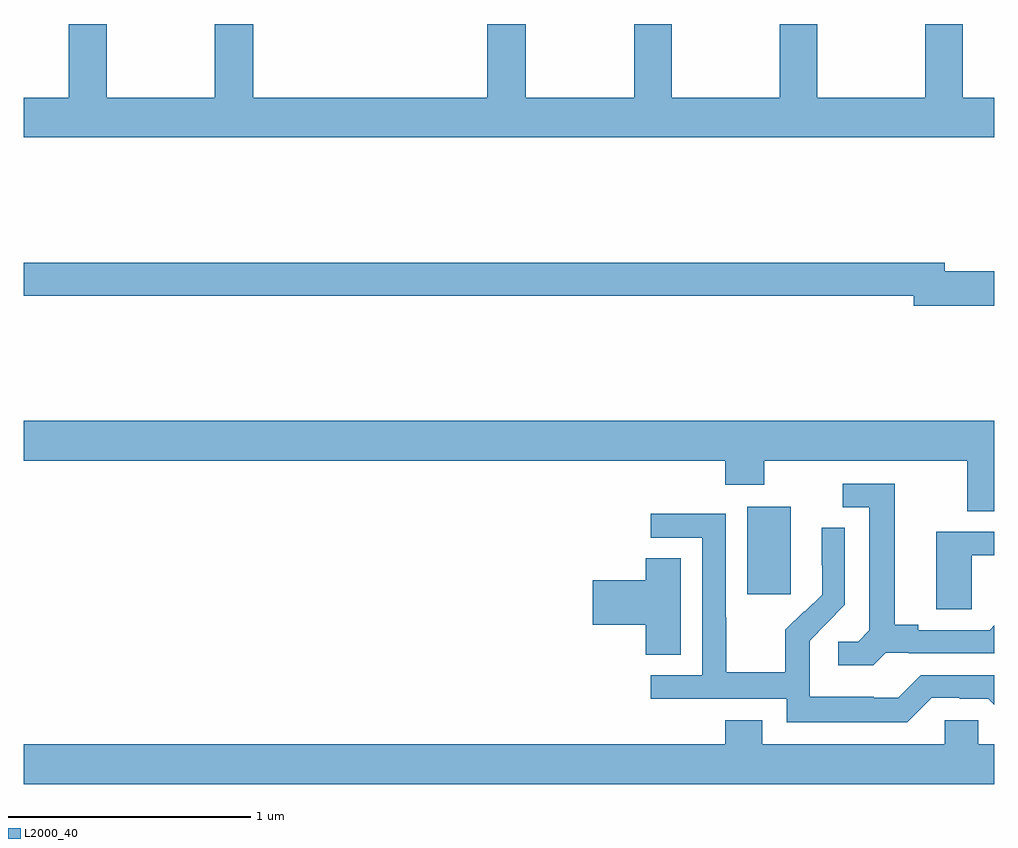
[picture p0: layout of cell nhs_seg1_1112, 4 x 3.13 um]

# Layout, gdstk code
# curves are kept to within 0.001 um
import gdstk
lib = gdstk.Library(unit=1e-6, precision=1e-09)
def R(c, l, rs):  # rectangles x0, y0, x1, y1
    for r in rs: c.add(gdstk.rectangle(r[:2], r[2:], *l))
def P(c, l, *ps):  # polygons
    for p in ps: c.add(gdstk.Polygon(p, *l))
L2000_40 = (2000, 40)

nhs_seg1_1112 = lib.new_cell('nhs_seg1_1112')
R(nhs_seg1_1112, L2000_40, [(173.981,549.849,174.16,550.21)])
P(nhs_seg1_1112, L2000_40, [(175,551.896),(174.87,551.896),(174.87,552.199),(174.715,552.199),(174.715,551.896),(174.27,551.896),(174.27,552.199),(174.115,552.199),(174.115,551.896),(173.67,551.896),(173.67,552.199),(173.515,552.199),(173.515,551.896),(173.07,551.896),(173.07,552.199),(172.91,552.199),(172.91,551.896),(171.947,551.896),(171.947,552.199),(171.787,552.199),(171.787,551.896),(171.342,551.896),(171.342,552.199),(171.187,552.199),(171.187,551.896),(171,551.896),(171,551.732),(175,551.732)],
  [(175,551.18),(174.796,551.18),(174.796,551.216),(171,551.216),(171,551.08),(174.668,551.08),(174.668,551.038),(175,551.038)],
  [(175,550.564),(171,550.564),(171,550.4),(173.891,550.4),(173.891,550.301),(174.051,550.301),(174.051,550.4),(174.887,550.4),(174.887,550.192),(175,550.192)],
  [(174.552,549.609),(174.646,549.609),(174.646,549.606),(175,549.606),(175,549.722),(174.98,549.702),(174.685,549.702),(174.685,549.725),(174.589,549.725),(174.589,550.305),(174.375,550.305),(174.375,550.209),(174.485,550.209),(174.485,549.701),(174.438,549.654),(174.357,549.654),(174.357,549.557),(174.5,549.557)],
  [(174.741,549.423),(174.857,549.423),(174.857,549.42),(174.975,549.42),(175,549.395),(175,549.516),(174.696,549.516),(174.603,549.423),(174.503,549.423),(174.503,549.427),(174.24,549.427),(174.24,549.561),(174.238,549.561),(174.238,549.658),(174.384,549.806),(174.384,550.124),(174.288,550.124),(174.288,549.97),(174.29,549.97),(174.29,549.848),(174.219,549.777),(174.216,549.78),(174.139,549.703),(174.139,549.529),(173.895,549.529),(173.895,549.752),(173.892,549.752),(173.892,550.182),(173.583,550.182),(173.583,550.083),(173.796,550.083),(173.796,549.516),(173.583,549.516),(173.583,549.42),(174.144,549.42),(174.144,549.323),(174.641,549.323)],
  [(174.906,550.011),(175,550.011),(175,550.107),(174.761,550.107),(174.761,549.787),(174.906,549.787)],
  [(173.707,549.998),(173.564,549.998),(173.564,549.908),(173.346,549.908),(173.346,549.725),(173.564,549.725),(173.564,549.601),(173.707,549.601)],
  [(175,549.232),(174.933,549.232),(174.933,549.33),(174.795,549.33),(174.795,549.232),(174.043,549.232),(174.043,549.331),(173.891,549.331),(173.891,549.232),(171,549.232),(171,549.068),(175,549.068)])

lib.write_gds('nhs_seg1_1112.gds')
